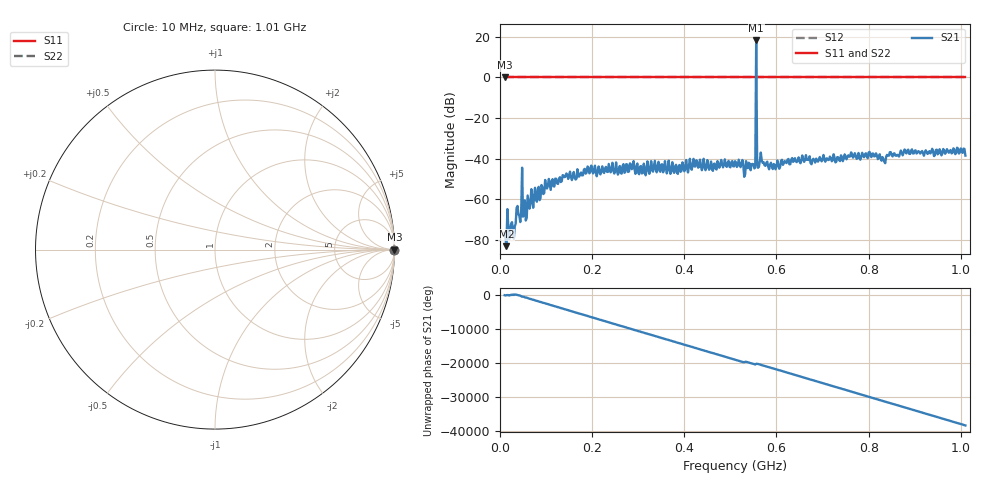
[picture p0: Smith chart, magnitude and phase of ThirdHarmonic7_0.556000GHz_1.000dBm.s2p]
! 8/17/2025 4:56:17 PM
! C:\ANRITSUVNA\TEMP\TEMP.S2P
! CHANNEL.1
! TR.MEASUREMENT
! RAW.DATA
! RF.CORRECTION.OFF
! AVERAGING.OFF
! IF.BANDWIDTH: 5KHZ
! SWEEPTYPE:  FREQ.SWEEP(Linear)
! Reference Plane Port Info
! PORT:  PORT1  PORT2
! DISTANCE:  0  m  0  m
! TIME:  0  s  0  s
! PHASE.OFFSET:  0  deg.  0  deg.
! LOSS:  0  dB  0  dB
! REF.LOSS:  0  dB  0  dB
! REF.FREQ:  0  Hz  0  Hz
! Power Info
! POWER:  -20  dBm  -20  dBm
! EFF.POWER:  -20  dBm  -20  dBm
! SOURCE.ATTEN:  0  dB  0  dB
! TEST.ATTEN:  0  dB  0  dB
# GHZ S RI R 50.0
! FREQ.GHZ  S11RE  S11IM  S21RE  S21IM  S12RE  S12IM  S22RE  S22IM
!; PortSelection: Port_12
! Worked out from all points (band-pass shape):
!   501 points, 10 MHz to 1.01 GHz, reference 50 ohm
!   highest |S21| = 18.06 dB at 556 MHz (marker M1); lowest = -83.1 dB at 14 MHz (marker M2)
!   |S21| within 3 dB of the highest: 555.904 MHz to 556.1017 MHz (197.7 kHz wide, 0.0356 % of centre)
!   lowest |S11| = 0.0 dB at 10 MHz (marker M3)
!   |S11| at or under -10 dB: nowhere
!   |S22| runs from 0.0 to 0.0 dB; largest |S21 - S12| = 7.2
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0.01  1 0  6.82e-05 0.000135  1 0  1 0
0.014  1 0  1.28e-05 6.91e-05  1 0  1 0
0.03  1 0  -7.06e-05 8.07e-05  1 0  1 0
0.05  1 0  0.000371 4.26e-05  1 0  1 0
0.054  1 0  -0.000836 0.000428  1 0  1 0
0.064  1 0  -0.000312 0.000496  1 0  1 0
0.102  1 0  0.00162 0.000858  1 0  1 0
0.178  1 0  -0.00359 -0.0014  1 0  1 0
0.286  1 0  -0.00518 0.00182  1 0  1 0
0.344  1 0  0.00816 -0.00175  1 0  1 0
0.51  1 0  -0.00811 -0.00289  1 0  1 0
0.55  1 0  0.00692 0.00211  1 0  1 0
0.552  1 0  0.00277 -0.00502  1 0  1 0
0.556  1 0  6.744 4.299  1 0  1 0
0.56  1 0  0.00591 -0.000419  1 0  1 0
0.562  1 0  0.00231 -0.00591  1 0  1 0
0.596  1 0  0.00638 -0.0026  1 0  1 0
0.678  1 0  0.00564 -0.00717  1 0  1 0
0.804  1 0  0.000635 -0.0116  1 0  1 0
0.832  1 0  -0.00587 -0.00772  1 0  1 0
0.844  1 0  -0.00827 0.00836  1 0  1 0
1.01  1 0  0.00161 -0.0117  1 0  1 0
